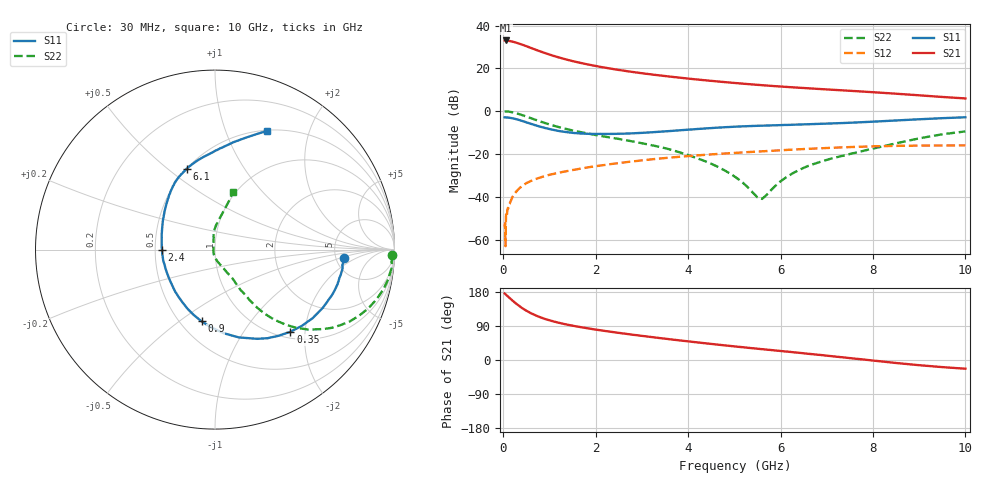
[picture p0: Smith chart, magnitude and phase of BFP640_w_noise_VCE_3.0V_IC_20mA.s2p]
! Infineon Technologies  Discrete & RF Semiconductors
! BFP640
! VCE =  3.0 V,  IC =  20 mA
! Common Emitter S-Parameters:  Apr 2013
# GHz  S  MA  R  50
!  f  S11  S21  S12  S22
! GHz  MAG  ANG  MAG  ANG  MAG  ANG  MAG  ANG
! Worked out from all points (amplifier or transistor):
!   99 points, 30 MHz to 10 GHz, reference 50 ohm
!   highest |S21| = 33.1 dB at 50 MHz (marker M1)
!   |S21| within 3 dB of that: start of sweep to 539.9 MHz
!   unconditionally stable (mu >= 1): 2.745 GHz to end of sweep
!   at 350 MHz: K = 0.27, MSG = 33.8 dB, |S12| = -36.0 dB
!   at 3.5 GHz: K = 1.04, MAG = 18.0 dB, |S12| = -21.9 dB
!   at 10 GHz: K = 1.07, MAG = 9.3 dB, |S12| = -16.0 dB
!   lowest NFmin = 0.85 dB at 450 MHz
!   S11 on the Smith chart (normalised r, x): 30 MHz: 5.87, -1.16; 350 MHz: 1.12, -1.68; 900 MHz: 0.63, -0.61; 2.4 GHz: 0.54, -0.00; 6.1 GHz: 0.50, +0.58; 10 GHz: 0.51, +1.41
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0.03  0.7185 -3.8  45.08 175.6  0.002 101.9  0.9869 -1.9
0.05  0.7144 -6.9  45.09 173.6  0.0007 102.5  0.9858 -4.0
0.06  0.7188 -8.4  44.92 172.2  0.0037 95.4  0.9903 -4.8
0.11  0.7092 -15.7  44.23 166.7  0.0053 85.2  0.9802 -9.5
0.2  0.6829 -28.3  42.28 156.9  0.0099 78.8  0.942 -17.1
0.3  0.6433 -41.5  39.44 146.8  0.0139 73.5  0.8836 -24.6
0.35  0.6212 -47.5  37.82 142.3  0.0158 71.3  0.8512 -28.0
0.45  0.5745 -59.2  34.7 133.8  0.0191 67.4  0.7848 -33.7
0.6  0.5071 -74.8  30.13 123.5  0.0234 63.1  0.6862 -40.5
0.7  0.4686 -84.0  27.44 117.8  0.0259 60.8  0.6287 -43.9
0.9  0.4068 -100.6  22.96 108.5  0.0304 58.3  0.5304 -48.8
1.2  0.3452 -121.7  18.13 98.3  0.0364 56.1  0.4257 -53.1
1.4  0.3222 -133.6  15.82 93.0  0.0402 54.8  0.3766 -54.7
1.7  0.3006 -149.7  13.28 86.2  0.046 53.3  0.3201 -55.8
2.4  0.2952 -179.2  9.6 73.3  0.0594 49.5  0.2342 -58.2
3.4  0.3325 150.8  6.836 57.7  0.0785 42.3  0.145 -62.3
5.1  0.4386 120.0  4.485 34.7  0.1075 28.8  0.0252 -106.5
5.6  0.4594 114.3  4.057 28.6  0.1153 24.9  0.0089 168.5
6.1  0.4777 109.4  3.717 22.6  0.1238 21.0  0.0275 105.7
6.7  0.5003 102.7  3.382 15.2  0.1334 15.4  0.0575 97.8
8.5  0.608 80.1  2.566 -7.9  0.1548 -2.1  0.1775 81.3
10  0.7217 66.3  1.989 -23.0  0.1592 -13.9  0.3373 72.8
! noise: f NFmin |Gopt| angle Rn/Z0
0.45  0.85  0.13  6  0.02
0.9  0.85  0.13  14  0.03
1.5  0.88  0.1  26  0.04
1.9  0.9  0.14  -134  0.05
2.4  0.94  0.19  -119  0.06
3.5  1.06  0.24  -104  0.08
5.5  1.25  0.25  -96  0.15
10  1.74  0.58  -55  0.46
